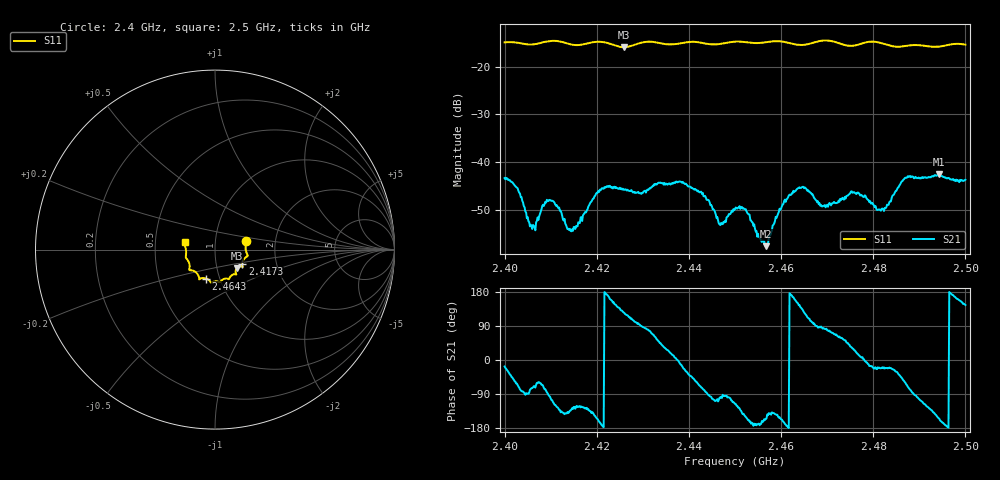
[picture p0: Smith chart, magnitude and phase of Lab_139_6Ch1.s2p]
# Hz S RI R 50
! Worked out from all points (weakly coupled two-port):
!   601 points, 2.4 GHz to 2.5 GHz, reference 50 ohm
!   highest |S21| = -42.63 dB at 2.4942 GHz (marker M1); lowest = -57.7 dB at 2.4567 GHz (marker M2)
!   lowest |S11| = -15.9 dB at 2.4258 GHz (marker M3), VSWR 1.38, Z = 62.3 - j13.2 ohm
!   |S11| at or under -10 dB: start of sweep to end of sweep
!   S12 and S22 are empty: the file has one direction only
!   S11 on the Smith chart (normalised r, x): 2.4 GHz: 1.41, +0.14; 2.4173 GHz: 1.34, -0.22; 2.4643 GHz: 0.86, -0.29; 2.5 GHz: 0.72, +0.06
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2.4e9  0.1729 0.0488  0.00647 -0.00199  0 0  0 0
2.402833e9  0.1746 0.0355  0.00213 -0.00483  0 0  0 0
2.406167e9  0.1709 -3.87e-05  0.000671 -0.00208  0 0  0 0
2.409667e9  0.1823 -0.0318  -0.000319 -0.00398  0 0  0 0
2.414e9  0.1663 -0.0469  -0.00142 -0.0013  0 0  0 0
2.416667e9  0.1529 -0.074  -0.00142 -0.00221  0 0  0 0
2.417333e9  0.152 -0.0814  -0.00177 -0.0023  0 0  0 0
2.421167e9  0.1536 -0.0968  -0.00527 -0.000619  0 0  0 0
2.425833e9  0.1218 -0.1032  -0.00296 0.00416  0 0  0 0
2.433333e9  0.1132 -0.1372  0.00385 0.00466  0 0  0 0
2.4425e9  0.0721 -0.1635  0.0017 -0.00455  0 0  0 0
2.446833e9  0.0417 -0.1681  -0.000362 -0.00215  0 0  0 0
2.45e9  0.0287 -0.1807  -0.0014 -0.00286  0 0  0 0
2.452667e9  0.0194 -0.1784  -0.00266 -0.00122  0 0  0 0
2.456667e9  -0.0113 -0.1798  -0.00119 -0.000537  0 0  0 0
2.460333e9  -0.0249 -0.1814  -0.00337 -0.00119  0 0  0 0
2.464333e9  -0.0501 -0.1611  -0.00396 0.00357  0 0  0 0
2.466667e9  -0.0758 -0.1594  -0.000778 0.00449  0 0  0 0
2.483333e9  -0.1412 -0.0901  0.00331 -0.00126  0 0  0 0
2.487e9  -0.1551 -0.0554  0.00335 -0.00595  0 0  0 0
2.494167e9  -0.1618 -0.000207  -0.00659 -0.00333  0 0  0 0
2.5e9  -0.1644 0.0432  -0.00534 0.00372  0 0  0 0
